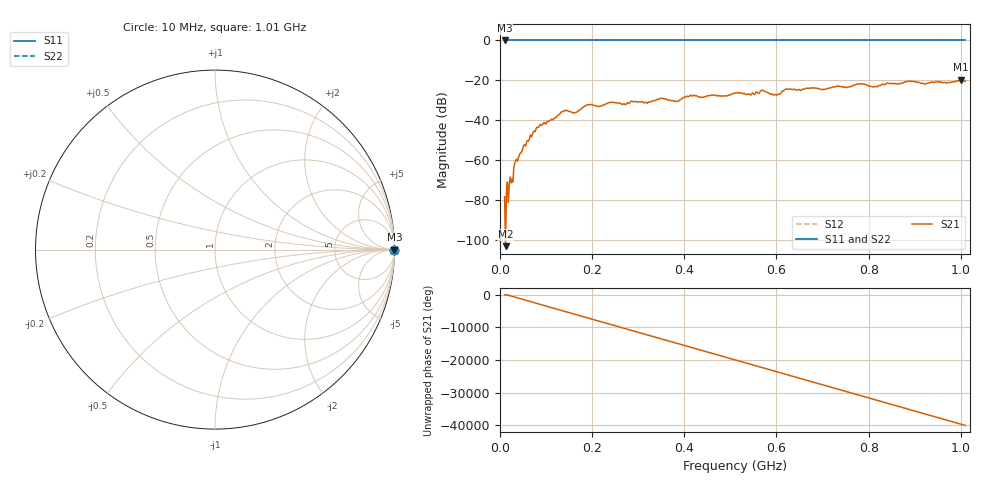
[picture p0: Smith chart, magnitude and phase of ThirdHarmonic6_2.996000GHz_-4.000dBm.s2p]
! 8/17/2025 8:33:06 AM
! C:\ANRITSUVNA\TEMP\TEMP.S2P
! CHANNEL.1
! TR.MEASUREMENT
! RAW.DATA
! RF.CORRECTION.OFF
! AVERAGING.OFF
! IF.BANDWIDTH: 5KHZ
! SWEEPTYPE:  FREQ.SWEEP(Linear)
! Reference Plane Port Info
! PORT:  PORT1  PORT2
! DISTANCE:  0  m  0  m
! TIME:  0  s  0  s
! PHASE.OFFSET:  0  deg.  0  deg.
! LOSS:  0  dB  0  dB
! REF.LOSS:  0  dB  0  dB
! REF.FREQ:  0  Hz  0  Hz
! Power Info
! POWER:  -20  dBm  -20  dBm
! EFF.POWER:  -20  dBm  -20  dBm
! SOURCE.ATTEN:  0  dB  0  dB
! TEST.ATTEN:  0  dB  0  dB
# GHZ S RI R 50.0
! FREQ.GHZ  S11RE  S11IM  S21RE  S21IM  S12RE  S12IM  S22RE  S22IM
!; PortSelection: Port_12
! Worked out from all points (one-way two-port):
!   501 points, 10 MHz to 1.01 GHz, reference 50 ohm
!   highest |S21| = -19.64 dB at 1 GHz (marker M1); lowest = -102.9 dB at 12 MHz (marker M2)
!   lowest |S11| = 0.0 dB at 10 MHz (marker M3)
!   |S11| at or under -10 dB: nowhere
!   |S22| runs from 0.0 to 0.0 dB; largest |S21 - S12| = 1.1
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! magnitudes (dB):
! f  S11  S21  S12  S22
! 10 MHz  0.0  -78.1  0.0  0.0
! 12 MHz  0.0  -102.9  0.0  0.0
! 22 MHz  0.0  -68.3  0.0  0.0
! 36 MHz  0.0  -59.4  0.0  0.0
! 76 MHz  0.0  -45.6  0.0  0.0
! 136 MHz  0.0  -35.7  0.0  0.0
! 162 MHz  0.0  -36.0  0.0  0.0
! 178 MHz  0.0  -33.8  0.0  0.0
! 192 MHz  0.0  -32.2  0.0  0.0
! 316 MHz  0.0  -30.8  0.0  0.0
! 344 MHz  0.0  -29.5  0.0  0.0
! 384 MHz  0.0  -30.4  0.0  0.0
! 416 MHz  0.0  -27.7  0.0  0.0
! 510 MHz  0.0  -26.3  0.0  0.0
! 570 MHz  0.0  -24.9  0.0  0.0
! 598 MHz  0.0  -27.0  0.0  0.0
! 622 MHz  0.0  -24.3  0.0  0.0
! 678 MHz  0.0  -23.7  0.0  0.0
! 814 MHz  0.0  -23.0  0.0  0.0
! 844 MHz  0.0  -21.5  0.0  0.0
! 1 GHz  0.0  -19.6  0.0  0.0
! 1.01 GHz  0.0  -20.4  0.0  0.0
